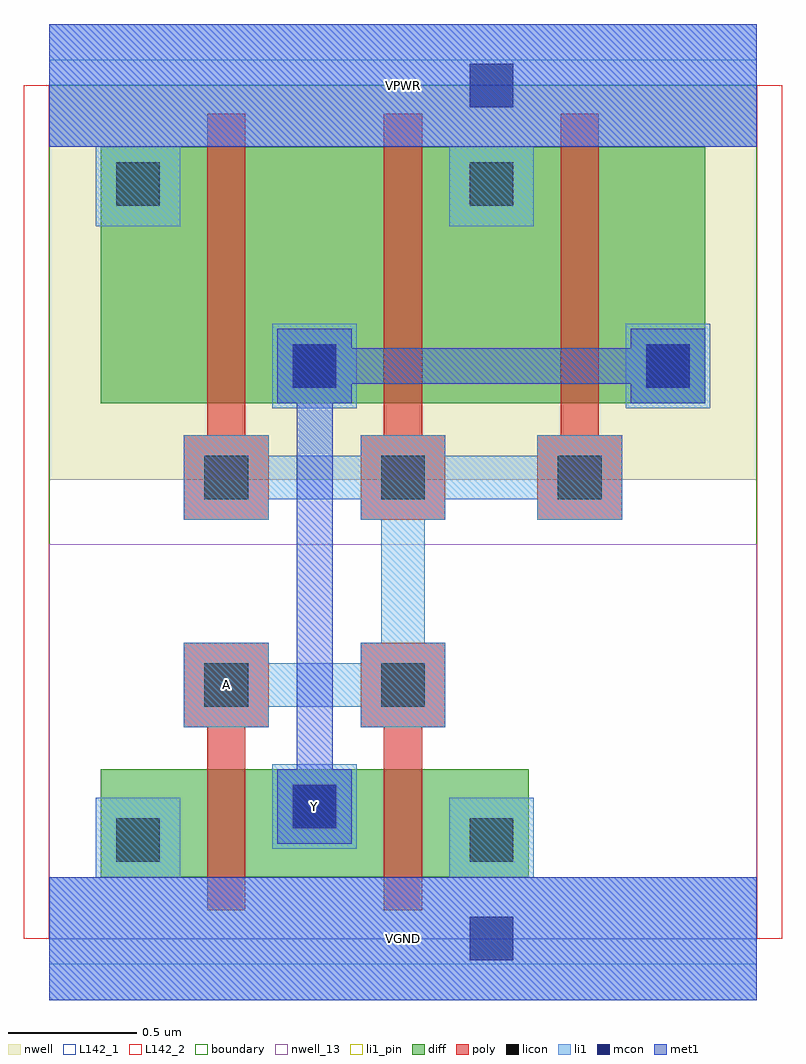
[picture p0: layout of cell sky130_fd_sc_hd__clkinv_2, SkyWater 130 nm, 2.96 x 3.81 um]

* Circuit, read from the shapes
.subckt sky130_fd_sc_hd__clkinv_2 A VGND VPWR Y
XM1 Y A VGND VSUBS sky130_fd_pr__nfet_01v8 w=0.42 l=0.15 m=2
XM2 Y A VPWR n1 sky130_fd_pr__pfet_01v8 w=1 l=0.15 m=3
.ends

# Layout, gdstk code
import gdstk
lib = gdstk.Library(unit=1e-6, precision=1e-09)
def R(c, l, rs):  # rectangles x0, y0, x1, y1
    for r in rs: c.add(gdstk.rectangle(r[:2], r[2:], *l))
def A(c, l, x, y, w, h, nx, ny, dx, dy):  # array of equal rectangles
    R(c, l, [(x+i*dx, y+j*dy, x+i*dx+w, y+j*dy+h) for i in range(nx) for j in range(ny)])
def P(c, l, *ps):  # polygons
    for p in ps: c.add(gdstk.Polygon(p, *l))
nwell_13 = (64, 13)
nwell = (64, 20)
diff = (65, 20)
poly = (66, 20)
licon = (66, 44)
li1_pin = (67, 16)
li1 = (67, 20)
mcon = (67, 44)
met1 = (68, 20)
L142_1 = (142, 1)
L142_2 = (142, 2)
boundary = (235, 4)

sky130_fd_sc_hd__clkinv_ = lib.new_cell('sky130_fd_sc_hd__clkinv_2')
R(sky130_fd_sc_hd__clkinv_, nwell_13, [(0,0,2.76,1.54)])
R(sky130_fd_sc_hd__clkinv_, nwell, [(0,1.79,2.76,3.33)])
R(sky130_fd_sc_hd__clkinv_, diff, [(0.2,0.24,1.87,0.66), (0.2,0.24,0.615,0.66), (0.615,0.24,1.305,0.66), (1.305,0.24,1.87,0.66), (0.2,2.09,2.56,3.09), (0.2,2.09,0.615,3.09), (0.615,2.09,1.305,3.09), (1.305,2.09,1.995,3.09), (1.995,2.09,2.56,3.09)])
P(sky130_fd_sc_hd__clkinv_, poly, [(0.615,0.11),(0.615,0.825),(0.525,0.825),(0.525,1.155),(0.855,1.155),(0.855,0.825),(0.765,0.825),(0.765,0.11)],
  [(1.305,0.11),(1.305,0.825),(1.215,0.825),(1.215,1.155),(1.545,1.155),(1.545,0.825),(1.455,0.825),(1.455,0.11)],
  [(0.525,1.635),(0.525,1.965),(0.615,1.965),(0.615,3.22),(0.765,3.22),(0.765,1.965),(0.855,1.965),(0.855,1.635)],
  [(1.215,1.635),(1.215,1.965),(1.305,1.965),(1.305,3.22),(1.455,3.22),(1.455,1.965),(1.545,1.965),(1.545,1.635)],
  [(1.905,1.635),(1.905,1.965),(1.995,1.965),(1.995,3.22),(2.145,3.22),(2.145,1.965),(2.235,1.965),(2.235,1.635)])
A(sky130_fd_sc_hd__clkinv_, licon, 0.605, 1.715, 0.17, 0.17, 3, 1, 0.69, 0)
R(sky130_fd_sc_hd__clkinv_, licon, [(0.26,0.3,0.43,0.47), (1.64,0.3,1.81,0.47), (0.95,0.43,1.12,0.6), (0.605,0.905,0.775,1.075), (1.295,0.905,1.465,1.075), (0.95,2.15,1.12,2.32), (2.33,2.15,2.5,2.32), (0.26,2.86,0.43,3.03), (1.64,2.86,1.81,3.03)])
R(sky130_fd_sc_hd__clkinv_, li1_pin, [(0,-0.24,2.76,0.24), (0.87,0.35,1.2,0.68), (0,3.09,2.76,3.57)])
P(sky130_fd_sc_hd__clkinv_, li1_pin, [(0.525,0.825),(0.525,1.155),(0.855,1.155),(0.855,1.075),(1.215,1.075),(1.215,1.155),(1.295,1.155),(1.295,1.635),(1.215,1.635),(1.215,1.715),(0.855,1.715),(0.855,1.635),(0.525,1.635),(0.525,1.965),(0.855,1.965),(0.855,1.885),(1.215,1.885),(1.215,1.965),(1.545,1.965),(1.545,1.885),(1.905,1.885),(1.905,1.965),(2.235,1.965),(2.235,1.635),(1.905,1.635),(1.905,1.715),(1.545,1.715),(1.545,1.635),(1.465,1.635),(1.465,1.155),(1.545,1.155),(1.545,0.825),(1.215,0.825),(1.215,0.905),(0.855,0.905),(0.855,0.825)])
R(sky130_fd_sc_hd__clkinv_, li1, [(0.87,0.35,1.2,0.68), (0.87,2.07,1.2,2.4), (2.25,2.07,2.58,2.4)])
P(sky130_fd_sc_hd__clkinv_, li1, [(0.18,2.78),(0.18,3.09),(0,3.09),(0,3.57),(2.76,3.57),(2.76,3.09),(1.89,3.09),(1.89,2.78),(1.56,2.78),(1.56,3.09),(0.51,3.09),(0.51,2.78)],
  [(0,-0.24),(0,0.24),(0.18,0.24),(0.18,0.55),(0.51,0.55),(0.51,0.24),(1.56,0.24),(1.56,0.55),(1.89,0.55),(1.89,0.24),(2.76,0.24),(2.76,-0.24)],
  [(0.525,0.825),(0.525,1.155),(0.855,1.155),(0.855,1.075),(1.215,1.075),(1.215,1.155),(1.295,1.155),(1.295,1.635),(1.215,1.635),(1.215,1.715),(0.855,1.715),(0.855,1.635),(0.525,1.635),(0.525,1.965),(0.855,1.965),(0.855,1.885),(1.215,1.885),(1.215,1.965),(1.545,1.965),(1.545,1.885),(1.905,1.885),(1.905,1.965),(2.235,1.965),(2.235,1.635),(1.905,1.635),(1.905,1.715),(1.545,1.715),(1.545,1.635),(1.465,1.635),(1.465,1.155),(1.545,1.155),(1.545,0.825),(1.215,0.825),(1.215,0.905),(0.855,0.905),(0.855,0.825)])
R(sky130_fd_sc_hd__clkinv_, mcon, [(1.64,-0.085,1.81,0.085), (0.95,0.43,1.12,0.6), (0.95,2.15,1.12,2.32), (2.33,2.15,2.5,2.32), (1.64,3.245,1.81,3.415)])
R(sky130_fd_sc_hd__clkinv_, met1, [(0,-0.24,2.76,0.24), (0,3.09,2.76,3.57)])
P(sky130_fd_sc_hd__clkinv_, met1, [(0.89,0.37),(0.89,0.66),(0.965,0.66),(0.965,2.09),(0.89,2.09),(0.89,2.38),(1.18,2.38),(1.18,2.305),(2.27,2.305),(2.27,2.38),(2.56,2.38),(2.56,2.09),(2.27,2.09),(2.27,2.165),(1.18,2.165),(1.18,2.09),(1.105,2.09),(1.105,0.66),(1.18,0.66),(1.18,0.37)])
R(sky130_fd_sc_hd__clkinv_, L142_1, [(0,-0.1,2.76,0), (0,3.33,2.76,3.43)])
R(sky130_fd_sc_hd__clkinv_, L142_2, [(-0.1,0,0,3.33), (2.76,0,2.86,3.33)])
R(sky130_fd_sc_hd__clkinv_, boundary, [(0,0,2.76,3.33)])
sky130_fd_sc_hd__clkinv_.add(gdstk.Label('Y', (1.035,0.515), layer=67, texttype=5))
sky130_fd_sc_hd__clkinv_.add(gdstk.Label('A', (0.69,0.99), layer=67, texttype=5))
sky130_fd_sc_hd__clkinv_.add(gdstk.Label('VGND', (1.38,0), layer=67, texttype=5))
sky130_fd_sc_hd__clkinv_.add(gdstk.Label('VPWR', (1.38,3.33), layer=67, texttype=5))
sky130_fd_sc_hd__clkinv_.add(gdstk.Label('VGND', (1.38,0), layer=68, texttype=5))
sky130_fd_sc_hd__clkinv_.add(gdstk.Label('VPWR', (1.38,3.33), layer=68, texttype=5))

lib.write_gds('sky130_fd_sc_hd__clkinv_2.gds')
